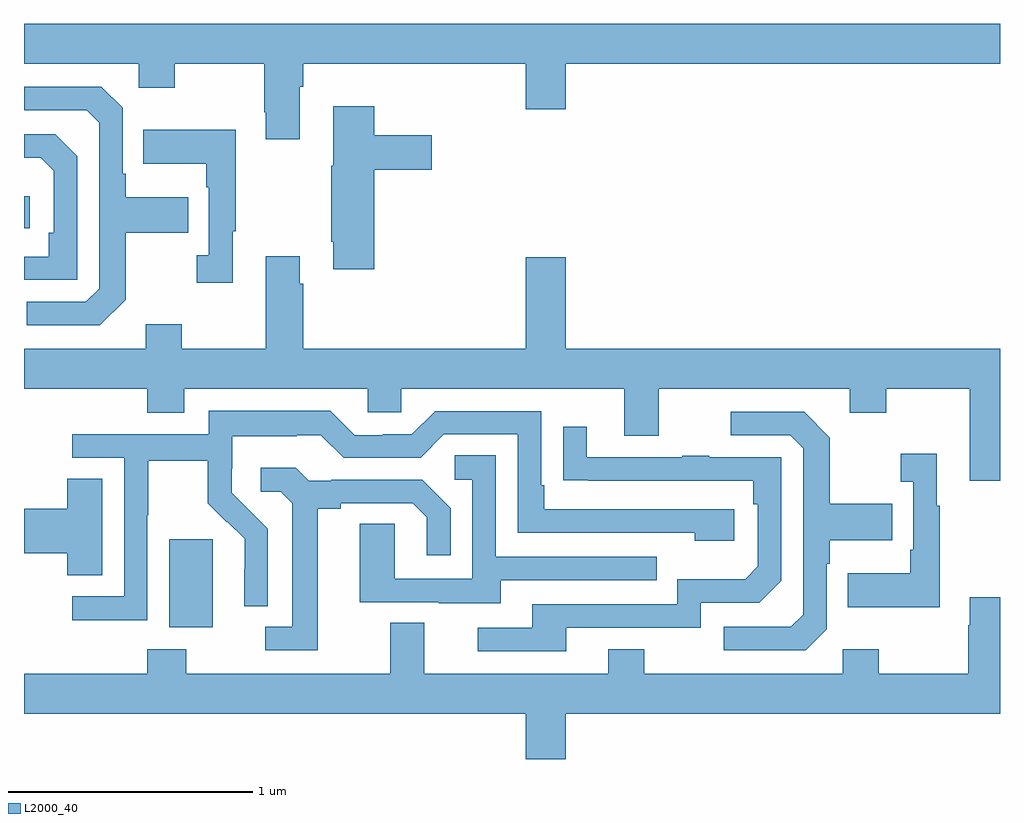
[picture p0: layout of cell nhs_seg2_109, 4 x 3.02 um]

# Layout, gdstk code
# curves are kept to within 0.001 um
import gdstk
lib = gdstk.Library(unit=1e-6, precision=1e-09)
def R(c, l, rs):  # rectangles x0, y0, x1, y1
    for r in rs: c.add(gdstk.rectangle(r[:2], r[2:], *l))
def P(c, l, *ps):  # polygons
    for p in ps: c.add(gdstk.Polygon(p, *l))
L2000_40 = (2000, 40)

nhs_seg2_109 = lib.new_cell('nhs_seg2_109')
R(nhs_seg2_109, L2000_40, [(115.595,646.658,115.774,647.019), (115,648.294,115.024,648.424)])
P(nhs_seg2_109, L2000_40, [(116.131,648.872),(116.144,648.872),(116.144,648.968),(117.056,648.968),(117.056,648.78),(117.22,648.78),(117.22,648.968),(119,648.968),(119,649.132),(115,649.132),(115,648.968),(115.47,648.968),(115.47,648.869),(115.617,648.869),(115.617,648.968),(115.984,648.968),(115.984,648.769),(115.991,648.769),(115.991,648.657),(116.131,648.657)],
  [(115.417,648.001),(115.417,648.274),(115.673,648.274),(115.673,648.421),(115.417,648.421),(115.417,648.517),(115.404,648.517),(115.404,648.786),(115.317,648.873),(115,648.873),(115,648.777),(115.257,648.777),(115.308,648.726),(115.308,648.045),(115.254,647.991),(115.011,647.991),(115.011,647.895),(115.311,647.895)],
  [(116.435,648.533),(116.671,648.533),(116.671,648.675),(116.435,648.675),(116.435,648.793),(116.267,648.793),(116.267,648.549),(116.26,648.549),(116.26,648.238),(116.267,648.238),(116.267,648.126),(116.435,648.126)],
  [(115.855,648.281),(115.867,648.281),(115.867,648.697),(115.489,648.697),(115.489,648.557),(115.746,648.557),(115.746,648.461),(115.758,648.461),(115.758,648.182),(115.707,648.182),(115.707,648.069),(115.855,648.069)],
  [(115.218,648.588),(115.128,648.678),(115,648.678),(115,648.581),(115.069,648.581),(115.122,648.528),(115.122,648.274),(115.102,648.274),(115.102,648.177),(115,648.177),(115,648.081),(115.218,648.081)],
  [(119,647.8),(117.22,647.8),(117.22,648.175),(117.056,648.175),(117.056,647.8),(116.144,647.8),(116.144,648.065),(116.131,648.065),(116.131,648.178),(115.991,648.178),(115.991,647.8),(115.647,647.8),(115.647,647.899),(115.499,647.899),(115.499,647.8),(115,647.8),(115,647.636),(115.505,647.636),(115.505,647.537),(115.657,647.537),(115.657,647.636),(116.409,647.636),(116.409,647.538),(116.547,647.538),(116.547,647.636),(117.461,647.636),(117.461,647.442),(117.601,647.442),(117.601,647.636),(118.385,647.636),(118.385,647.537),(118.533,647.537),(118.533,647.636),(118.877,647.636),(118.877,647.259),(119,647.259)],
  [(115.506,647.116),(115.509,647.116),(115.509,647.34),(115.753,647.34),(115.753,647.165),(115.83,647.088),(115.833,647.091),(115.904,647.021),(115.904,646.898),(115.902,646.898),(115.902,646.744),(115.998,646.744),(115.998,647.062),(115.852,647.21),(115.852,647.307),(115.854,647.307),(115.854,647.441),(116.117,647.441),(116.117,647.445),(116.217,647.445),(116.31,647.352),(116.625,647.352),(116.721,647.448),(117.024,647.448),(117.024,647.046),(117.749,647.046),(117.749,647.012),(117.91,647.012),(117.91,647.142),(117.133,647.142),(117.133,647.239),(117.12,647.239),(117.12,647.544),(116.685,647.544),(116.589,647.448),(116.471,647.448),(116.471,647.445),(116.355,647.445),(116.255,647.545),(115.758,647.545),(115.758,647.448),(115.197,647.448),(115.197,647.352),(115.41,647.352),(115.41,646.785),(115.197,646.785),(115.197,646.687),(115.506,646.687)],
  [(118.29,646.65),(118.29,646.919),(118.303,646.919),(118.303,647.015),(118.559,647.015),(118.559,647.163),(118.303,647.163),(118.303,647.435),(118.197,647.541),(117.897,647.541),(117.897,647.445),(118.14,647.445),(118.194,647.391),(118.194,646.71),(118.143,646.659),(117.867,646.659),(117.867,646.563),(118.203,646.563)],
  [(117.223,646.656),(117.774,646.656),(117.774,646.758),(118.014,646.758),(118.104,646.848),(118.104,647.355),(117.809,647.355),(117.809,647.36),(117.697,647.36),(117.697,647.355),(117.307,647.355),(117.307,647.479),(117.211,647.479),(117.211,647.26),(117.988,647.259),(117.988,647.162),(118.008,647.162),(118.008,646.908),(117.955,646.855),(117.678,646.855),(117.678,646.752),(117.083,646.752),(117.083,646.656),(116.859,646.656),(116.859,646.56),(117.223,646.56)],
  [(118.753,647.155),(118.741,647.155),(118.741,647.368),(118.593,647.368),(118.593,647.255),(118.644,647.255),(118.644,646.975),(118.632,646.975),(118.632,646.879),(118.375,646.879),(118.375,646.739),(118.753,646.739)],
  [(116.953,646.851),(117.593,646.851),(117.593,646.947),(116.934,646.947),(116.934,647.363),(116.766,647.363),(116.766,647.262),(116.838,647.262),(116.838,646.857),(116.52,646.857),(116.52,647.081),(116.375,647.081),(116.375,646.761),(116.699,646.761),(116.699,646.757),(116.953,646.757)],
  [(116.203,647.144),(116.299,647.144),(116.299,647.166),(116.594,647.166),(116.651,647.109),(116.651,646.953),(116.748,646.953),(116.748,647.146),(116.632,647.262),(116.26,647.262),(116.26,647.259),(116.166,647.259),(116.114,647.311),(115.971,647.311),(115.971,647.214),(116.052,647.214),(116.099,647.167),(116.099,646.659),(115.989,646.659),(115.989,646.563),(116.203,646.563)],
  [(115.321,647.267),(115.178,647.267),(115.178,647.144),(115,647.144),(115,646.961),(115.178,646.961),(115.178,646.87),(115.321,646.87)],
  [(117.22,646.304),(119,646.304),(119,646.78),(118.877,646.78),(118.877,646.667),(118.87,646.667),(118.87,646.468),(118.503,646.468),(118.503,646.567),(118.356,646.567),(118.356,646.468),(117.543,646.468),(117.543,646.567),(117.395,646.567),(117.395,646.468),(116.641,646.468),(116.641,646.676),(116.501,646.676),(116.501,646.468),(115.665,646.468),(115.665,646.567),(115.505,646.567),(115.505,646.468),(115,646.468),(115,646.304),(117.056,646.304),(117.056,646.116),(117.22,646.116)])

lib.write_gds('nhs_seg2_109.gds')
